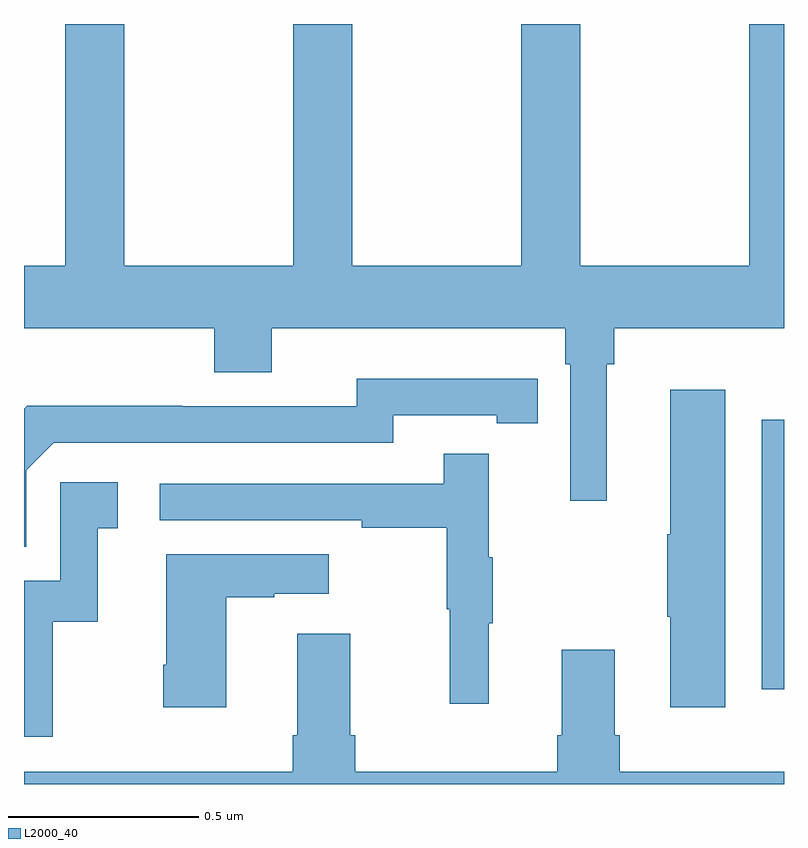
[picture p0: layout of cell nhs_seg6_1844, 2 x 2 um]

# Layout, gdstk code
import gdstk
lib = gdstk.Library(unit=1e-6, precision=1e-09)
def R(c, l, rs):  # rectangles x0, y0, x1, y1
    for r in rs: c.add(gdstk.rectangle(r[:2], r[2:], *l))
def P(c, l, *ps):  # polygons
    for p in ps: c.add(gdstk.Polygon(p, *l))
L2000_40 = (2000, 40)

nhs_seg6_1844 = lib.new_cell('nhs_seg6_1844')
R(nhs_seg6_1844, L2000_40, [(136.941,915.749,137,916.459)])
P(nhs_seg6_1844, L2000_40, [(136.534,916.604),(136.553,916.604),(136.553,916.7),(137,916.7),(137,917.5),(136.909,917.5),(136.909,916.864),(136.464,916.864),(136.464,917.5),(136.309,917.5),(136.309,916.864),(135.864,916.864),(135.864,917.5),(135.709,917.5),(135.709,916.864),(135.264,916.864),(135.264,917.5),(135.109,917.5),(135.109,916.864),(135,916.864),(135,916.7),(135.5,916.7),(135.5,916.583),(135.652,916.583),(135.652,916.7),(136.424,916.7),(136.424,916.604),(136.437,916.604),(136.437,916.245),(136.534,916.245)],
  [(135.006,916.326),(135.078,916.398),(135.972,916.398),(135.972,916.47),(136.244,916.47),(136.244,916.45),(136.352,916.45),(136.352,916.566),(136.244,916.566),(136.244,916.567),(135.876,916.567),(135.876,916.494),(135.416,916.494),(135.416,916.496),(135.008,916.496),(135,916.488),(135,916.125),(135.006,916.125)],
  [(136.846,916.537),(136.7,916.537),(136.7,916.157),(136.693,916.157),(136.693,915.94),(136.7,915.94),(136.7,915.702),(136.846,915.702)],
  [(136.223,915.923),(136.234,915.923),(136.234,916.097),(136.223,916.097),(136.223,916.369),(136.105,916.369),(136.105,916.29),(135.357,916.29),(135.357,916.194),(135.889,916.194),(135.889,916.174),(136.113,916.174),(136.113,915.96),(136.12,915.96),(136.12,915.711),(136.223,915.711)],
  [(135.076,915.927),(135.194,915.927),(135.194,916.173),(135.247,916.173),(135.247,916.294),(135.096,916.294),(135.096,916.035),(135,916.035),(135,915.624),(135.076,915.624)],
  [(135.532,915.991),(135.659,915.991),(135.659,916.001),(135.802,916.001),(135.802,916.105),(135.374,916.105),(135.374,915.814),(135.367,915.814),(135.367,915.702),(135.532,915.702)],
  [(137,915.532),(136.568,915.532),(136.568,915.628),(136.555,915.628),(136.555,915.853),(136.415,915.853),(136.415,915.628),(136.403,915.628),(136.403,915.532),(135.872,915.532),(135.872,915.628),(135.859,915.628),(135.859,915.895),(135.719,915.895),(135.719,915.628),(135.707,915.628),(135.707,915.532),(135,915.532),(135,915.5),(137,915.5)])

lib.write_gds('nhs_seg6_1844.gds')
